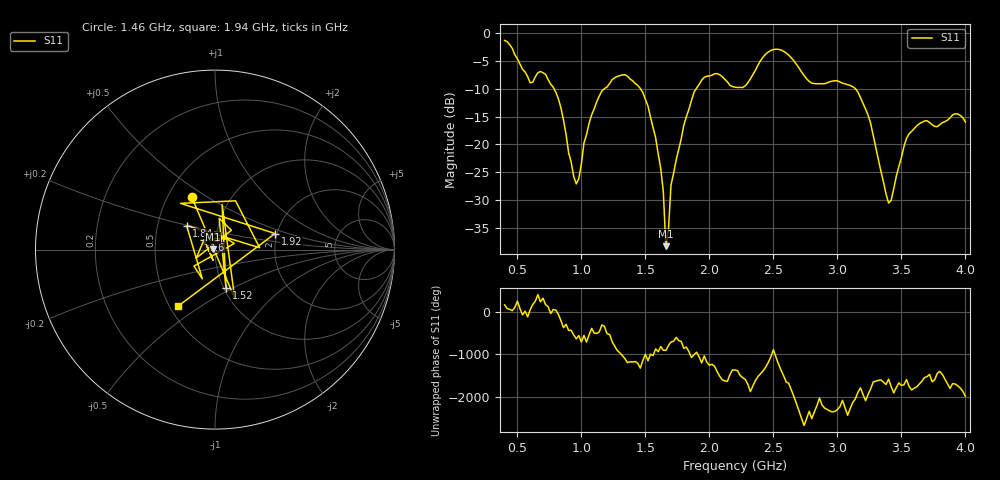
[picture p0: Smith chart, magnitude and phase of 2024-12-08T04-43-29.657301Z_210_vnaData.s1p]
!Created with skrf (http://scikit-rf.org).
# Hz S RI R 50.0
!freq ReS11 ImS11
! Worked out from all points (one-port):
!   181 points, 400 MHz to 4 GHz, reference 50 ohm
!   lowest |S11| = -38.3 dB at 1.66 GHz (marker M1), VSWR 1.02, Z = 48.8 + j0.201 ohm
!   |S11| at or under -10 dB: 786.8 MHz to 1.178 GHz (390.9 MHz wide, 39.8 % of centre); 1.462 GHz to 1.896 GHz (434.1 MHz wide, 25.9 % of centre); 3.142 GHz to end of sweep
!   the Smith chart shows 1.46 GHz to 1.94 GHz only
!   S11 on the Smith chart (normalised r, x): 1.46 GHz: 0.66, +0.43; 1.52 GHz: 1.03, -0.46; 1.6 GHz: 0.88, +0.10; 1.84 GHz: 0.70, +0.20; 1.92 GHz: 1.95, +0.40; 1.94 GHz: 0.55, -0.41
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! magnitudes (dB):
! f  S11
! 400 MHz  -1.3
! 600 MHz  -8.9
! 720 MHz  -7.4
! 860 MHz  -15.6
! 960 MHz  -27.1
! 1.12 GHz  -12.3
! 1.3 GHz  -7.6
! 1.46 GHz  -9.9
! 1.52 GHz  -13.1
! 1.6 GHz  -21.7
! 1.64 GHz  -28.5
! 1.66 GHz  -38.3
! 1.68 GHz  -35.4
! 1.7 GHz  -27.3
! 1.76 GHz  -20.9
! 1.84 GHz  -13.7
! 1.92 GHz  -9.2
! 1.94 GHz  -8.4
! 2.2 GHz  -9.7
! 2.48 GHz  -3.1
! 2.66 GHz  -5.0
! 2.8 GHz  -9.0
! 3.1 GHz  -9.4
! 3.24 GHz  -14.8
! 3.4 GHz  -30.5
! 3.56 GHz  -18.1
! 3.92 GHz  -14.5
! 4 GHz  -16.0
